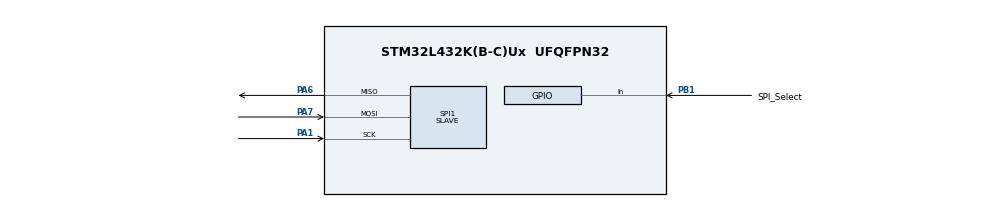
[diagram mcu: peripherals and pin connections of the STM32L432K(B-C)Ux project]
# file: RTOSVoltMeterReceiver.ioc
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FREERTOS.Mutexes01=spiMutex,Static,spiMutexControlBlock,Available;decryptLock,Static,decryptLockControlBlock,Available
FREERTOS.Queues01=decryptOutput,4,uint16_t,0,Static,decryptOutputBuffer,decryptOutputControlBlock;spiOutput,8,uint32_t,0,Static,spiOutputBuffer,spiOutputControlBlock
FREERTOS.Tasks01=defaultTask,24,128,StartDefaultTask,Default,NULL,Dynamic,NULL,NULL;spiTask,24,128,startSpi,Default,NULL,Static,spiTaskBuffer,spiTaskControlBlock;decrypter,24,128,StartDecrypter,Default,NULL,Static,decrypterBuffer,decrypterControlBlock;display,24,128,StartDisplay,Default,NULL,Static,displayBuffer,displayControlBlock
Mcu.Family=STM32L4
Mcu.Name=STM32L432K(B-C)Ux
Mcu.Package=UFQFPN32
NVIC.PriorityGroup=NVIC_PRIORITYGROUP_4
PA1.Mode=Full_Duplex_Slave
PA1.Signal=SPI1_SCK
PA6.Mode=Full_Duplex_Slave
PA6.Signal=SPI1_MISO
PA7.Mode=Full_Duplex_Slave
PA7.Signal=SPI1_MOSI
PB1.GPIO_Label=SPI_Select
PB1.GPIO_PuPd=GPIO_PULLUP
PB1.Signal=GPIO_Input
ProjectManager.HeapSize=0x200
ProjectManager.StackSize=0x400
ProjectManager.TargetToolchain=STM32CubeIDE
RCC.HSE_VALUE=8000000
RCC.HSI48_VALUE=48000000
RCC.HSI_VALUE=16000000
RCC.LSE_VALUE=32768
RCC.MSI_VALUE=4000000
RCC.VCOOutputFreq_Value=32000000
SPI1.DataSize=SPI_DATASIZE_8BIT
SPI1.Direction=SPI_DIRECTION_2LINES
SPI1.Mode=SPI_MODE_SLAVE
SPI1.VirtualType=VM_SLAVE
VP_FREERTOS_VS_CMSIS_V2.Mode=CMSIS_V2
board=custom

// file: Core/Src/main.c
/* USER CODE BEGIN Header */
/**
  ******************************************************************************
  * @file           : main.c
  * @brief          : Main program body
  ******************************************************************************
  * @attention
  *
  * Copyright (c) 2024 STMicroelectronics.
  * All rights reserved.
  *
  * This software is licensed under terms that can be found in the LICENSE file
  * in the root directory of this software component.
  * If no LICENSE file comes with this software, it is provided AS-IS.
  *
  ******************************************************************************
  */
/* USER CODE END Header */
#include "main.h"
#include "cmsis_os.h"

/* USER CODE BEGIN Includes */
#include "stm32l4xx_ll_gpio.h"
/* USER CODE END Includes */

typedef StaticTask_t osStaticThreadDef_t;
typedef StaticQueue_t osStaticMessageQDef_t;
typedef StaticSemaphore_t osStaticMutexDef_t;

SPI_HandleTypeDef hspi1;

/* Definitions for defaultTask */
osThreadId_t defaultTaskHandle;
const osThreadAttr_t defaultTask_attributes = {
  .name = "defaultTask",
  .stack_size = 128 * 4,
  .priority = (osPriority_t) osPriorityNormal,
};
/* Definitions for spiTask */
osThreadId_t spiTaskHandle;
uint32_t spiTaskBuffer[ 128 ];
osStaticThreadDef_t spiTaskControlBlock;
const osThreadAttr_t spiTask_attributes = {
  .name = "spiTask",
  .cb_mem = &spiTaskControlBlock,
  .cb_size = sizeof(spiTaskControlBlock),
  .stack_mem = &spiTaskBuffer[0],
  .stack_size = sizeof(spiTaskBuffer),
  .priority = (osPriority_t) osPriorityNormal,
};
/* Definitions for decrypter */
osThreadId_t decrypterHandle;
uint32_t decrypterBuffer[ 128 ];
osStaticThreadDef_t decrypterControlBlock;
const osThreadAttr_t decrypter_attributes = {
  .name = "decrypter",
  .cb_mem = &decrypterControlBlock,
  .cb_size = sizeof(decrypterControlBlock),
  .stack_mem = &decrypterBuffer[0],
  .stack_size = sizeof(decrypterBuffer),
  .priority = (osPriority_t) osPriorityNormal,
};
/* Definitions for display */
osThreadId_t displayHandle;
uint32_t displayBuffer[ 128 ];
osStaticThreadDef_t displayControlBlock;
const osThreadAttr_t display_attributes = {
  .name = "display",
  .cb_mem = &displayControlBlock,
  .cb_size = sizeof(displayControlBlock),
  .stack_mem = &displayBuffer[0],
  .stack_size = sizeof(displayBuffer),
  .priority = (osPriority_t) osPriorityNormal,
};
/* Definitions for decryptOutput */
osMessageQueueId_t decryptOutputHandle;
uint8_t decryptOutputBuffer[ 4 * sizeof( uint16_t ) ];
osStaticMessageQDef_t decryptOutputControlBlock;
const osMessageQueueAttr_t decryptOutput_attributes = {
  .name = "decryptOutput",
  .cb_mem = &decryptOutputControlBlock,
  .cb_size = sizeof(decryptOutputControlBlock),
  .mq_mem = &decryptOutputBuffer,
  .mq_size = sizeof(decryptOutputBuffer)
};
/* Definitions for spiOutput */
osMessageQueueId_t spiOutputHandle;
uint8_t spiOutputBuffer[ 8 * sizeof( uint32_t ) ];
osStaticMessageQDef_t spiOutputControlBlock;
const osMessageQueueAttr_t spiOutput_attributes = {
  .name = "spiOutput",
  .cb_mem = &spiOutputControlBlock,
  .cb_size = sizeof(spiOutputControlBlock),
  .mq_mem = &spiOutputBuffer,
  .mq_size = sizeof(spiOutputBuffer)
};
/* Definitions for spiMutex */
osMutexId_t spiMutexHandle;
osStaticMutexDef_t spiMutexControlBlock;
const osMutexAttr_t spiMutex_attributes = {
  .name = "spiMutex",
  .cb_mem = &spiMutexControlBlock,
  .cb_size = sizeof(spiMutexControlBlock),
};
/* Definitions for decryptLock */
osMutexId_t decryptLockHandle;
osStaticMutexDef_t decryptLockControlBlock;
const osMutexAttr_t decryptLock_attributes = {
  .name = "decryptLock",
  .cb_mem = &decryptLockControlBlock,
  .cb_size = sizeof(decryptLockControlBlock),
};

void SystemClock_Config(void);
static void MX_GPIO_Init(void);
static void MX_SPI1_Init(void);
void StartDefaultTask(void *argument);
void startSpi(void *argument);
void StartDecrypter(void *argument);
void StartDisplay(void *argument);

/* USER CODE BEGIN PFP */
void decrypt (uint32_t *v0I,uint32_t *v1I, const uint32_t k[4]);

/* USER CODE END PFP */

/* USER CODE BEGIN 0 */
void decrypt(uint32_t *v0I, uint32_t *v1I, const uint32_t k[4])
{
	uint32_t v0 = *v0I;
	uint32_t v1 = *v1I;
	uint32_t sum=0xC6EF3720;
    uint32_t delta=0x9E3779B9; /* a key schedule constant */
    uint32_t k0=k[0], k1=k[1], k2=k[2], k3=k[3];  /* cache key */
    for (uint32_t i=0; i<32; i++)
    {             /* basic cycle start */
        v1 -= ((v0<<4) + k2) ^ (v0 + sum) ^ ((v0>>5) + k3);
        v0 -= ((v1<<4) + k0) ^ (v1 + sum) ^ ((v1>>5) + k1);
        sum -= delta;
    }                       /* end cycle */
    (*v0I)=v0;
    (*v1I)=v1;
}
/* USER CODE END 0 */

int main(void)
{

  /* MCU Configuration--------------------------------------------------------*/

  /* Reset of all peripherals, Initializes the Flash interface and the Systick. */
  HAL_Init();

  /* Configure the system clock */
  SystemClock_Config();

  /* Initialize all configured peripherals */
  MX_GPIO_Init();
  MX_SPI1_Init();

  /* Init scheduler */
  osKernelInitialize();
  /* Create the mutex(es) */
  /* creation of spiMutex */
  spiMutexHandle = osMutexNew(&spiMutex_attributes);

  /* creation of decryptLock */
  decryptLockHandle = osMutexNew(&decryptLock_attributes);

  /* Create the queue(s) */
  /* creation of decryptOutput */
  decryptOutputHandle = osMessageQueueNew (4, sizeof(uint16_t), &decryptOutput_attributes);

  /* creation of spiOutput */
  spiOutputHandle = osMessageQueueNew (8, sizeof(uint32_t), &spiOutput_attributes);

  /* Create the thread(s) */
  /* creation of defaultTask */
  defaultTaskHandle = osThreadNew(StartDefaultTask, NULL, &defaultTask_attributes);

  /* creation of spiTask */
  spiTaskHandle = osThreadNew(startSpi, NULL, &spiTask_attributes);

  /* creation of decrypter */
  decrypterHandle = osThreadNew(StartDecrypter, NULL, &decrypter_attributes);

  /* creation of display */
  displayHandle = osThreadNew(StartDisplay, NULL, &display_attributes);

  /* Start scheduler */
  osKernelStart();

  /* We should never get here as control is now taken by the scheduler */

  /* Infinite loop */
  while (1)
  {

  }
}

void SystemClock_Config(void)
{
  RCC_OscInitTypeDef RCC_OscInitStruct = {0};
  RCC_ClkInitTypeDef RCC_ClkInitStruct = {0};

  /** Configure the main internal regulator output voltage
  */
  if (HAL_PWREx_ControlVoltageScaling(PWR_REGULATOR_VOLTAGE_SCALE1) != HAL_OK)
  {
    Error_Handler();
  }

  /** Initializes the RCC Oscillators according to the specified parameters
  * in the RCC_OscInitTypeDef structure.
  */
  RCC_OscInitStruct.OscillatorType = RCC_OSCILLATORTYPE_MSI;
  RCC_OscInitStruct.MSIState = RCC_MSI_ON;
  RCC_OscInitStruct.MSICalibrationValue = 0;
  RCC_OscInitStruct.MSIClockRange = RCC_MSIRANGE_6;
  RCC_OscInitStruct.PLL.PLLState = RCC_PLL_NONE;
  if (HAL_RCC_OscConfig(&RCC_OscInitStruct) != HAL_OK)
  {
    Error_Handler();
  }

  /** Initializes the CPU, AHB and APB buses clocks
  */
  RCC_ClkInitStruct.ClockType = RCC_CLOCKTYPE_HCLK|RCC_CLOCKTYPE_SYSCLK
                              |RCC_CLOCKTYPE_PCLK1|RCC_CLOCKTYPE_PCLK2;
  RCC_ClkInitStruct.SYSCLKSource = RCC_SYSCLKSOURCE_MSI;
  RCC_ClkInitStruct.AHBCLKDivider = RCC_SYSCLK_DIV1;
  RCC_ClkInitStruct.APB1CLKDivider = RCC_HCLK_DIV1;
  RCC_ClkInitStruct.APB2CLKDivider = RCC_HCLK_DIV1;

  if (HAL_RCC_ClockConfig(&RCC_ClkInitStruct, FLASH_LATENCY_0) != HAL_OK)
  {
    Error_Handler();
  }
}

static void MX_SPI1_Init(void)
{

  /* SPI1 parameter configuration*/
  hspi1.Instance = SPI1;
  hspi1.Init.Mode = SPI_MODE_SLAVE;
  hspi1.Init.Direction = SPI_DIRECTION_2LINES;
  hspi1.Init.DataSize = SPI_DATASIZE_8BIT;
  hspi1.Init.CLKPolarity = SPI_POLARITY_LOW;
  hspi1.Init.CLKPhase = SPI_PHASE_1EDGE;
  hspi1.Init.NSS = SPI_NSS_SOFT;
  hspi1.Init.FirstBit = SPI_FIRSTBIT_MSB;
  hspi1.Init.TIMode = SPI_TIMODE_DISABLE;
  hspi1.Init.CRCCalculation = SPI_CRCCALCULATION_DISABLE;
  hspi1.Init.CRCPolynomial = 7;
  hspi1.Init.CRCLength = SPI_CRC_LENGTH_DATASIZE;
  hspi1.Init.NSSPMode = SPI_NSS_PULSE_DISABLE;
  if (HAL_SPI_Init(&hspi1) != HAL_OK)
  {
    Error_Handler();
  }

}

static void MX_GPIO_Init(void)
{
  GPIO_InitTypeDef GPIO_InitStruct = {0};

  /* GPIO Ports Clock Enable */
  __HAL_RCC_GPIOA_CLK_ENABLE();
  __HAL_RCC_GPIOB_CLK_ENABLE();

  /*Configure GPIO pin : SPI_Select_Pin */
  GPIO_InitStruct.Pin = SPI_Select_Pin;
  GPIO_InitStruct.Mode = GPIO_MODE_INPUT;
  GPIO_InitStruct.Pull = GPIO_PULLUP;
  HAL_GPIO_Init(SPI_Select_GPIO_Port, &GPIO_InitStruct);

}

void StartDefaultTask(void *argument)
{
  for(;;)
  {
    osDelay(1);
  }
}

void startSpi(void *argument)
{
  /* USER CODE BEGIN startSpi */
  /* Infinite loop */
  for(;;)
  {
	  osMutexAcquire(spiMutexHandle, osWaitForever);
	  uint8_t toRead[8]; //temp location for data to read

	  if(!((GPIOB->IDR & (1<<1))))
	  {
		  for(uint8_t i = 0; i < 8; i++)
		  {
			  uint8_t rxData = 0;
			  HAL_SPI_Receive(&hspi1, &rxData, 1, HAL_MAX_DELAY);
			  toRead[i] = rxData;
		  }

		  spiTaskBuffer[0] |= (toRead[0] << 24) | (toRead[1] << 16) | (toRead[2] << 8) | toRead[3];
		  spiTaskBuffer[1] |= (toRead[4] << 24) | (toRead[5] << 16) | (toRead[6] << 8) | toRead[7];
	  }
	  osMutexRelease(spiMutexHandle);
  }
  /* USER CODE END startSpi */
}

void StartDecrypter(void *argument)
{
  /* USER CODE BEGIN StartDecrypter */
	uint32_t unPackage[2];
    uint32_t byteCapture = 0x0000ffff;
	uint16_t values[4] = {0,0,0,0}; //values from the adc queue
	const uint32_t k[4] = {371, 215, 11, 12}; //key
  /* Infinite loop */
  for(;;)
  {

	osMutexAcquire(spiMutexHandle, osWaitForever);
	unPackage[0] = spiTaskBuffer[0];
	unPackage[1] = spiTaskBuffer[1];

	osMutexRelease(spiMutexHandle);

    //Decrypting
	decrypt(&unPackage[0], &unPackage[1], k);

	//unpacking into 4 x 16-bit values
	values[0] = ((unPackage[0] << 16) & byteCapture);
	values[1] = ((unPackage[0]) & byteCapture);
	values[2] = ((unPackage[1] << 16) & byteCapture);
	values[3] = ((unPackage[1]) & byteCapture);

	for(uint8_t i = 0; i < 4; i++)
	{
		osMessageQueuePut(decryptOutputHandle, &values[i], 0, pdMS_TO_TICKS(10));
	}
  }
  /* USER CODE END StartDecrypter */
}

void StartDisplay(void *argument)
{
  for(;;)
  {
    osDelay(1);
  }
}

void Error_Handler(void)
{
  __disable_irq();
  while (1)
  {
  }
}
